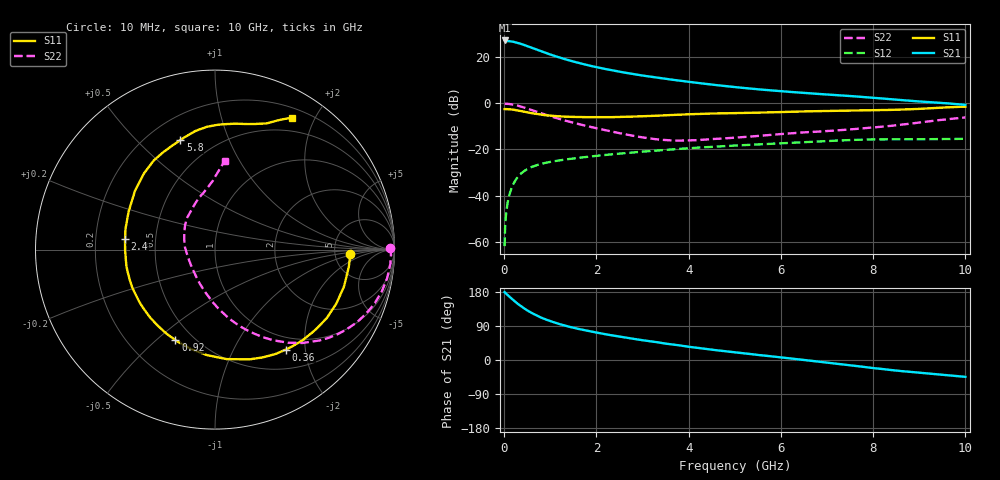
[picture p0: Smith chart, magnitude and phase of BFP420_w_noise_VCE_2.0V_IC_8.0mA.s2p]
! Infineon Technologies  Discrete & RF Semiconductors
! BFP420
! VCE =  2.0 V,  IC =  8.0 mA
! Common Emitter S-Parameters:  Jan 2016
# GHz  S  MA  R  50
!  f  S11  S21  S12  S22
! GHz  MAG  ANG  MAG  ANG  MAG  ANG  MAG  ANG
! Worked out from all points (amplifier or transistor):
!   233 points, 10 MHz to 10 GHz, reference 50 ohm
!   highest |S21| = 27.3 dB at 10 MHz (marker M1)
!   |S21| within 3 dB of that: start of sweep to 576.1 MHz
!   unconditionally stable (mu >= 1): 2.54 GHz to end of sweep
!   at 200 MHz: K = 0.11, MSG = 30.8 dB, |S12| = -34.9 dB
!   at 1.74 GHz: K = 0.77, MSG = 20.1 dB, |S12| = -23.3 dB
!   at 10 GHz: K = 1.10, MAG = 5.5 dB, |S12| = -15.4 dB
!   lowest NFmin = 0.79 dB at 900 MHz
!   S11 on the Smith chart (normalised r, x): 10 MHz: 6.95, -0.79; 360 MHz: 0.79, -1.65; 920 MHz: 0.40, -0.58; 2.4 GHz: 0.33, +0.05; 5.8 GHz: 0.33, +0.68; 10 GHz: 0.32, +1.70
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0.01  0.7513 -1.9  23.15 179.2  0.0008 76.2  0.9761 0.6
0.02  0.7535 -3.2  22.59 177.8  0.0019 88.3  0.9813 -1.7
0.06  0.7494 -9.3  22.54 173.1  0.0056 85.1  0.9782 -5.6
0.1  0.7476 -16.0  22.48 168.8  0.0092 82.1  0.9725 -9.4
0.195  0.7308 -30.7  21.68 158.5  0.0175 75.4  0.9408 -18.0
0.3  0.7017 -46.3  20.41 147.9  0.0256 68.5  0.8898 -26.9
0.36  0.683 -54.6  19.55 142.5  0.0296 64.9  0.8553 -31.4
0.48  0.6463 -70.0  17.78 132.5  0.0364 58.7  0.7835 -39.7
0.6  0.6136 -83.9  16.07 123.8  0.0419 53.8  0.7136 -46.8
0.7  0.5897 -94.3  14.74 117.5  0.0456 50.5  0.6592 -51.9
0.8  0.5698 -103.6  13.51 112.0  0.0487 47.8  0.6099 -56.4
0.92  0.5499 -113.7  12.24 106.2  0.0519 45.2  0.5575 -61.2
1.2  0.5233 -133.7  9.876 94.7  0.0581 41.1  0.4578 -71.0
1.42  0.5115 -146.4  8.499 87.5  0.0624 39.0  0.3986 -77.5
1.68  0.5045 -159.1  7.258 80.2  0.067 37.1  0.3428 -84.7
2.4  0.5045 173.5  5.074 63.7  0.0796 33.1  0.2367 -104.7
3.4  0.5462 145.9  3.515 45.3  0.0964 27.4  0.1628 -141.8
5.1  0.617 116.6  2.205 18.9  0.123 16.1  0.1833 159.3
5.8  0.6398 107.6  1.908 9.6  0.133 11.5  0.2076 144.2
6.8  0.6788 95.9  1.606 -4.1  0.149 3.8  0.2438 126.4
8.4  0.7227 75.4  1.226 -26.6  0.1662 -12.0  0.3267 100.7
10  0.8515 59.7  0.927 -44.5  0.1704 -23.0  0.4946 83.8
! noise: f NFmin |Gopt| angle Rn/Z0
0.9  0.79  0.08  30  0.13
1.8  1.14  0.06  171  0.12
2.4  1.24  0.1  160  0.13
3  1.32  0.17  -165  0.12
4  1.46  0.32  -132  0.14
5  1.85  0.39  -110  0.25
6  2.3  0.46  -95  0.37
